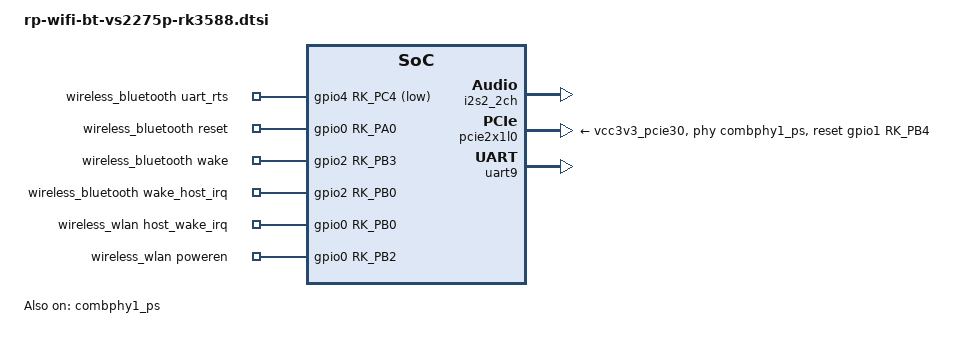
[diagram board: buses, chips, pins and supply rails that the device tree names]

/ {
    wireless_bluetooth: wireless-bluetooth {
        compatible = "bluetooth-platdata";
        clocks = <&hym8563>;
        clock-names = "ext_clock";
        uart_rts_gpios = <&gpio4 RK_PC4 GPIO_ACTIVE_LOW>;
        pinctrl-names = "default", "rts_gpio";
        pinctrl-0 = <&uart9m0_rtsn>, <&bt_gpio>;
        pinctrl-1 = <&uart9_gpios>;
        BT,reset_gpio    = <&gpio0 RK_PA0 GPIO_ACTIVE_HIGH>;
        BT,wake_gpio     = <&gpio2 RK_PB3 GPIO_ACTIVE_HIGH>;
        BT,wake_host_irq = <&gpio2 RK_PB0 GPIO_ACTIVE_HIGH>;
        status = "okay";
    };

    wireless_wlan: wireless-wlan {
        compatible = "wlan-platdata";
        wifi_chip_type = "ap6275p";
        pinctrl-names = "default";
        pinctrl-0 = <&wifi_host_wake_irq>, <&wifi_poweren_gpio>;
        WIFI,host_wake_irq = <&gpio0 RK_PB0 GPIO_ACTIVE_HIGH>;
        WIFI,poweren_gpio = <&gpio0 RK_PB2 GPIO_ACTIVE_HIGH>;  
        status = "okay";
    };

    bt-sound {
        compatible = "simple-audio-card";
        simple-audio-card,format = "dsp_a";
        simple-audio-card,bitclock-inversion = <1>;
        simple-audio-card,mclk-fs = <256>;
        simple-audio-card,name = "rockchip,bt";
        simple-audio-card,cpu {
                // sound-dai = <&sai2>;
                sound-dai = <&i2s2_2ch>;
        };

        simple-audio-card,codec {
                sound-dai = <&bt_sco 1>;
        };
    };

    bt_sco: bt-sco {
        compatible = "delta,dfbmcs320";
        #sound-dai-cells = <1>;
        status = "okay";
    };
};

&i2s2_2ch {
    status = "okay";
     pinctrl-names = "default", "idle", "clk";
     pinctrl-0 = <&i2s2m0_sdi
                  &i2s2m0_sdo>;
     pinctrl-1 = <&i2s2m0_idle>;
     pinctrl-2 = <&i2s2m0_lrck
                  &i2s2m0_sclk>;

};

&combphy1_ps {
        status = "okay"; 
};
                
&pcie2x1l0 {    
        phys = <&combphy1_ps PHY_TYPE_PCIE>;
        reset-gpios = <&gpio1 RK_PB4 GPIO_ACTIVE_HIGH>;
        vpcie3v3-supply = <&vcc3v3_pcie30>;
        status = "okay";
};

&uart9 {
    status = "okay";
        pinctrl-names = "default";
        pinctrl-0 = <&uart9m0_xfer &uart9m0_ctsn>;
};


&pinctrl {
        wireless-bluetooth {
                uart9_gpios: uart9-gpios {
                        rockchip,pins = <4 RK_PC4 RK_FUNC_GPIO &pcfg_pull_none>;
                };
                bt_gpio: bt-gpio {
                        rockchip,pins =
                                <0 RK_PA0 RK_FUNC_GPIO &pcfg_pull_none>,
                                <2 RK_PB3 RK_FUNC_GPIO &pcfg_pull_up>,
                                <2 RK_PB0 RK_FUNC_GPIO &pcfg_pull_down>;
                };
        };

        wireless-wlan {
                wifi_host_wake_irq: wifi-host-wake-irq {
                        rockchip,pins = <0 RK_PB0 RK_FUNC_GPIO &pcfg_pull_down>;
                };

                wifi_poweren_gpio: wifi-poweren-gpio {
                        rockchip,pins = <0 RK_PB2 RK_FUNC_GPIO &pcfg_pull_up>;
                };
        };
};
